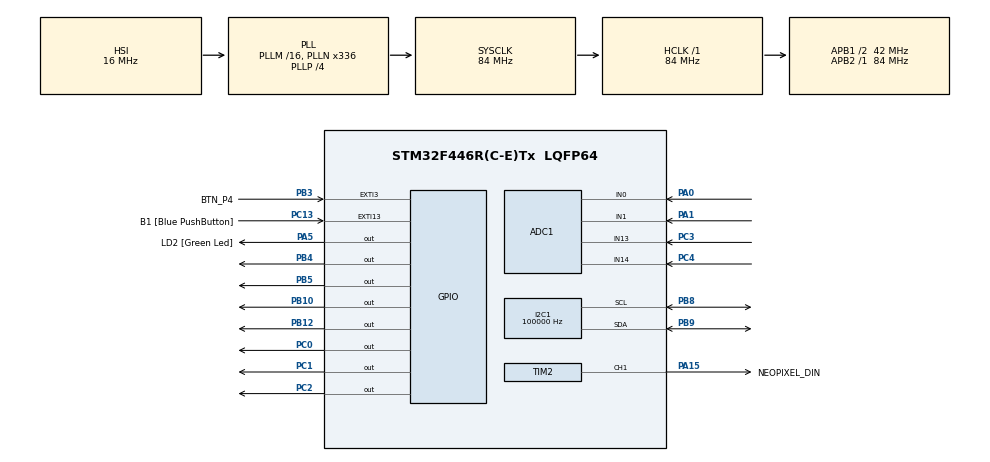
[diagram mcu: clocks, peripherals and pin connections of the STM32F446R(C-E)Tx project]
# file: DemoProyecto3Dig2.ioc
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ADC1.Channel-0\#ChannelRegularConversion=ADC_CHANNEL_0
ADC1.Channel-1\#ChannelRegularConversion=ADC_CHANNEL_1
ADC1.Channel-2\#ChannelRegularConversion=ADC_CHANNEL_13
ADC1.Channel-3\#ChannelRegularConversion=ADC_CHANNEL_14
ADC1.ClockPrescaler=ADC_CLOCK_SYNC_PCLK_DIV4
ADC1.DiscontinuousConvMode=ENABLE
ADC1.EOCSelection=ADC_EOC_SINGLE_CONV
ADC1.InjNumberOfConversion=0
ADC1.NbrOfConversion=4
ADC1.NbrOfConversionFlag=1
ADC1.NbrOfDiscConversion=1
ADC1.Rank-0\#ChannelRegularConversion=1
ADC1.Rank-1\#ChannelRegularConversion=2
ADC1.Rank-2\#ChannelRegularConversion=3
ADC1.Rank-3\#ChannelRegularConversion=4
ADC1.SamplingTime-0\#ChannelRegularConversion=ADC_SAMPLETIME_480CYCLES
ADC1.SamplingTime-1\#ChannelRegularConversion=ADC_SAMPLETIME_480CYCLES
ADC1.SamplingTime-2\#ChannelRegularConversion=ADC_SAMPLETIME_480CYCLES
ADC1.SamplingTime-3\#ChannelRegularConversion=ADC_SAMPLETIME_480CYCLES
ADC1.ScanConvMode=ENABLE
ADC1.master=1
I2C1.AddressingMode=I2C_ADDRESSINGMODE_7BIT
I2C1.ClockSpeed=100000
I2C1.DualAddressMode=I2C_DUALADDRESS_DISABLE
I2C1.GeneralCallMode=I2C_GENERALCALL_DISABLE
I2C1.NoStretchMode=I2C_NOSTRETCH_DISABLE
I2C1.OwnAddress1=32
Mcu.Family=STM32F4
Mcu.Name=STM32F446R(C-E)Tx
Mcu.Package=LQFP64
NVIC.EXTI3_IRQn=true\:0\:0\:false\:false\:true\:true\:true\:true
NVIC.I2C1_ER_IRQn=true\:0\:0\:false\:false\:true\:true\:true\:true
NVIC.I2C1_EV_IRQn=true\:0\:0\:false\:false\:true\:true\:true\:true
NVIC.PriorityGroup=NVIC_PRIORITYGROUP_0
PA0-WKUP.Signal=ADCx_IN0
PA1.Signal=ADCx_IN1
PA13.GPIO_Label=TMS
PA13.Signal=SYS_JTMS-SWDIO
PA14.GPIO_Label=TCK
PA14.Signal=SYS_JTCK-SWCLK
PA2.GPIO_Label=USART_TX
PA2.Signal=USART2_TX
PA3.GPIO_Label=USART_RX
PA3.Signal=USART2_RX
PC3.Signal=ADCx_IN13
PA5.GPIO_Label=LD2 [Green Led]
PA5.Signal=GPIO_Output
PC4.Signal=ADCx_IN14
PB10.Signal=GPIO_Output
PB12.Signal=GPIO_Output
PB3.GPIO_Label=BTN_P4
PB3.GPIO_ModeDefaultEXTI=GPIO_MODE_IT_FALLING
PB3.GPIO_PuPd=GPIO_PULLUP
PB3.Signal=GPXTI3
PB4.Signal=GPIO_Output
PB5.Signal=GPIO_Output
PB8.GPIO_Mode=GPIO_MODE_AF_OD
PB8.GPIO_PuPd=GPIO_NOPULL
PB8.GPIO_Speed=GPIO_SPEED_FREQ_VERY_HIGH
PB8.Mode=I2C
PB8.Signal=I2C1_SCL
PB9.GPIO_Mode=GPIO_MODE_AF_OD
PB9.GPIO_PuPd=GPIO_NOPULL
PB9.GPIO_Speed=GPIO_SPEED_FREQ_VERY_HIGH
PB9.Mode=I2C
PB9.Signal=I2C1_SDA
PC0.Signal=GPIO_Output
PC1.Signal=GPIO_Output
PC13.GPIO_Label=B1 [Blue PushButton]
PC13.GPIO_ModeDefaultEXTI=GPIO_MODE_IT_FALLING
PC13.GPIO_PuPd=GPIO_PULLUP
PC13.Signal=GPXTI13
PC14-OSC32_IN.Signal=RCC_OSC32_IN
PC15-OSC32_OUT.Signal=RCC_OSC32_OUT
PC2.Signal=GPIO_Output
PH0-OSC_IN.Signal=RCC_OSC_IN
PH1-OSC_OUT.Signal=RCC_OSC_OUT
ProjectManager.HeapSize=0x200
ProjectManager.StackSize=0x400
ProjectManager.TargetToolchain=STM32CubeIDE
RCC.AHBFreq_Value=84000000
RCC.APB1CLKDivider=RCC_HCLK_DIV2
RCC.APB1Freq_Value=42000000
RCC.APB1TimFreq_Value=84000000
RCC.APB2Freq_Value=84000000
RCC.APB2TimFreq_Value=84000000
RCC.CortexFreq_Value=84000000
RCC.FLatency-AdvancedSettings=FLASH_LATENCY_2
RCC.HCLKFreq_Value=84000000
RCC.HSE_VALUE=8000000
RCC.HSI_VALUE=16000000
RCC.LSE_VALUE=32768
RCC.PLLN=336
RCC.PLLP=RCC_PLLP_DIV4
RCC.SYSCLKFreq_VALUE=84000000
RCC.SYSCLKSource=RCC_SYSCLKSOURCE_PLLCLK
RCC.USBFreq_Value=168000000
RCC.VCOOutputFreq_Value=336000000
SH.ADCx_IN0.0=ADC1_IN0,IN0
SH.ADCx_IN1.0=ADC1_IN1,IN1
SH.ADCx_IN13.0=ADC1_IN13,IN13
SH.ADCx_IN14.0=ADC1_IN14,IN14
board=NUCLEO-F446RE
PA15.GPIO_Speed=GPIO_SPEED_FREQ_VERY_HIGH
PA15.GPIO_Label=NEOPIXEL_DIN
PA15.Signal=S_TIM2_CH1_ETR
Dma.Request0=TIM2_CH1
Dma.TIM2_CH1.0.Direction=DMA_MEMORY_TO_PERIPH
Dma.TIM2_CH1.0.FIFOMode=DMA_FIFOMODE_DISABLE
Dma.TIM2_CH1.0.Instance=DMA1_Stream5
Dma.TIM2_CH1.0.MemDataAlignment=DMA_MDATAALIGN_WORD
Dma.TIM2_CH1.0.MemInc=DMA_MINC_ENABLE
Dma.TIM2_CH1.0.Mode=DMA_NORMAL
Dma.TIM2_CH1.0.PeriphDataAlignment=DMA_PDATAALIGN_WORD
Dma.TIM2_CH1.0.PeriphInc=DMA_PINC_DISABLE
Dma.TIM2_CH1.0.Priority=DMA_PRIORITY_HIGH
NVIC.DMA1_Stream5_IRQn=true\:0\:0\:false\:false\:true\:false\:true\:true
SH.S_TIM2_CH1_ETR.0=TIM2_CH1,PWM Generation1 CH1
TIM2.AutoReloadPreload=TIM_AUTORELOAD_PRELOAD_ENABLE
TIM2.Channel-PWM\ Generation1\ CH1=TIM_CHANNEL_1
TIM2.Prescaler=0
TIM2.Period=104
VP_TIM2_VS_ClockSourceINT.Mode=Internal

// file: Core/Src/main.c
/* USER CODE BEGIN Header */
/**
 * @file main.c
 * @brief Parqueos: cuatro LDR, FSM y display de 7 segmentos.
 */
/* USER CODE END Header */
#include "main.h"

/* USER CODE BEGIN Includes */
#include <stdint.h>
#include "neopixel.h"
/* USER CODE END Includes */

/* USER CODE BEGIN PTD */
typedef enum
{
    ESTADO_DISPONIBLE = 0,
    ESTADO_OCUPADO
} EstadoParqueo_t;

typedef struct
{
    EstadoParqueo_t estado;
    uint8_t flag_ocupado;
    uint8_t candidato_ocupado;
    uint8_t cambio_pendiente;
    uint32_t inicio_cambio_ms;
} Parqueo_t;

typedef struct
{
    uint16_t adc_con_luz;
    uint16_t adc_sin_luz;
    uint8_t luz_para_liberar_pct;
    uint8_t luz_para_ocupar_pct;
} ConfiguracionLdr_t;
/* USER CODE END PTD */

/* USER CODE BEGIN PD */
#define NUM_PARQUEOS_LOCALES       4U
#define NUM_PARQUEOS_TOTALES       8U
#define DISPLAY_ANODO_COMUN        0U
#define PERIODO_LECTURA_MS         20U
#define CONFIRMACION_CAMBIO_MS     150U
#define MUESTRAS_PROMEDIO          8U
#define ADC_TIMEOUT_MS            5U
#define ADC_MAXIMO                4095U
#define LUZ_PARA_LIBERAR_PCT       60U
#define LUZ_PARA_OCUPAR_PCT        40U
#define I2C_DIRECCION_7BIT          0x10U
/* USER CODE END PD */

ADC_HandleTypeDef hadc1;

I2C_HandleTypeDef hi2c1;

TIM_HandleTypeDef htim2;
DMA_HandleTypeDef hdma_tim2_ch1;

/* USER CODE BEGIN PV */
static uint8_t neopixels_inicializados;
static uint8_t ocupacion_neopixels;
static uint32_t neopixels_ultimo_intento;
volatile uint32_t neopixels_errores;
static Parqueo_t parqueos[NUM_PARQUEOS_LOCALES];
static uint8_t espacios_disponibles = NUM_PARQUEOS_TOTALES;
static uint8_t actualizar_display = 1U;
static uint32_t ultima_lectura_ms;
volatile uint16_t lecturas_ldr[NUM_PARQUEOS_LOCALES];
volatile uint8_t luminosidad_pct[NUM_PARQUEOS_LOCALES];
volatile uint8_t lectura_adc_valida;
volatile uint32_t errores_adc;

/* Main publica un byte atomico; la ISR conserva su propia copia estable. */
static volatile uint8_t ocupacion_publicada;
static uint8_t i2c_tx;
static volatile uint8_t i2c_recuperar;
volatile uint32_t i2c_ultimo_error;
volatile uint32_t i2c_errores;
volatile uint32_t i2c_lecturas;

/* Divisor: 3.3 V -> resistencia fija -> ADC -> LDR -> GND.
 * Referencias iniciales de escala completa, no mediciones calibradas.
 * Ajustar adc_con_luz/adc_sin_luz por sensor con las lecturas reales.
 * Con el divisor invertido, intercambiar las dos referencias. */
static const ConfiguracionLdr_t configuracion_ldr[NUM_PARQUEOS_LOCALES] =
{
    {0U, ADC_MAXIMO, LUZ_PARA_LIBERAR_PCT, LUZ_PARA_OCUPAR_PCT},
    {0U, ADC_MAXIMO, LUZ_PARA_LIBERAR_PCT, LUZ_PARA_OCUPAR_PCT},
    {0U, ADC_MAXIMO, LUZ_PARA_LIBERAR_PCT, LUZ_PARA_OCUPAR_PCT},
    {0U, ADC_MAXIMO, LUZ_PARA_LIBERAR_PCT, LUZ_PARA_OCUPAR_PCT}
};

static const uint8_t tabla_7segmentos[9] =
{
    0x3F, 0x06, 0x5B, 0x4F, 0x66, 0x6D, 0x7D, 0x07, 0x7F
};

static volatile uint8_t mascara_global_recibida;
static volatile uint8_t mascara_global_valida;
static uint8_t i2c_rx_global[3];

/* USER CODE END PV */

void SystemClock_Config(void);
static void MX_GPIO_Init(void);
static void MX_ADC1_Init(void);
static void MX_I2C1_Init(void);

static void MX_DMA_Init(void);
static void MX_TIM2_Init(void);
/* USER CODE BEGIN PFP */
void HAL_TIM_MspPostInit(TIM_HandleTypeDef *htim);
static void Neopixels_Servicio(void);
static void Parqueos_Init(void);
static void Parqueos_ActualizarTotalGlobal(void);
static void I2C_Servicio(void);
static void I2C_PedirRecuperacion(void);
static void Parqueos_ProcesarLdr(void);
static void Parqueos_ActualizarFSM(void);
static void Parqueos_CalcularDisponibles(void);
static HAL_StatusTypeDef ADC_LeerLdr(uint16_t valores[]);
static void Display_MostrarNumero(uint8_t numero);
static void Display_EscribirSegmento(GPIO_TypeDef *puerto, uint16_t pin,
                                    uint8_t encender);

/* USER CODE END PFP */

/* USER CODE BEGIN 0 */
static void Parqueos_Init(void)
{
    for (uint32_t sensor = 0U; sensor < NUM_PARQUEOS_LOCALES; ++sensor)
    {
        parqueos[sensor].estado = ESTADO_DISPONIBLE;
        parqueos[sensor].flag_ocupado = 0U;
        parqueos[sensor].cambio_pendiente = 0U;
        const ConfiguracionLdr_t *config = &configuracion_ldr[sensor];
        if (config->adc_con_luz == config->adc_sin_luz ||
            config->adc_con_luz > ADC_MAXIMO ||
            config->adc_sin_luz > ADC_MAXIMO ||
            config->luz_para_liberar_pct > 100U ||
            config->luz_para_ocupar_pct >= config->luz_para_liberar_pct)
        {
            Error_Handler();
        }
    }
    espacios_disponibles = NUM_PARQUEOS_TOTALES;
    actualizar_display = 1U;
    ultima_lectura_ms = HAL_GetTick() - PERIODO_LECTURA_MS;
}

static HAL_StatusTypeDef ADC_LeerLdr(uint16_t valores[])
{
    uint32_t sumas[NUM_PARQUEOS_LOCALES] = {0};
    HAL_StatusTypeDef resultado = HAL_OK;

    /* Un disparo por rank; detener solo al terminar la secuencia completa. */
    for (uint32_t muestra = 0U; muestra <= MUESTRAS_PROMEDIO; ++muestra)
    {
        for (uint32_t sensor = 0U; sensor < NUM_PARQUEOS_LOCALES; ++sensor)
        {
            resultado = HAL_ADC_Start(&hadc1);
            if (resultado != HAL_OK) { goto finalizar; }
            if (HAL_ADC_GetError(&hadc1) != HAL_ADC_ERROR_NONE)
            {
                resultado = HAL_ERROR;
                goto finalizar;
            }
            resultado = HAL_ADC_PollForConversion(&hadc1, ADC_TIMEOUT_MS);
            if (resultado != HAL_OK) { goto finalizar; }
            if (__HAL_ADC_GET_FLAG(&hadc1, ADC_FLAG_OVR) != RESET)
            {
                resultado = HAL_ERROR;
                goto finalizar;
            }
            uint32_t lectura = HAL_ADC_GetValue(&hadc1);
            if (lectura > ADC_MAXIMO)
            {
                resultado = HAL_ERROR;
                goto finalizar;
            }
            if (muestra != 0U) { sumas[sensor] += lectura; }
        }
        if (HAL_ADC_Stop(&hadc1) != HAL_OK ||
            (hadc1.Instance->CR2 & ADC_CR2_ADON) != 0U)
        {
            Error_Handler();
        }
    }
    for (uint32_t sensor = 0U; sensor < NUM_PARQUEOS_LOCALES; ++sensor)
    {
        valores[sensor] = (uint16_t)((sumas[sensor] + MUESTRAS_PROMEDIO / 2U)
                                    / MUESTRAS_PROMEDIO);
    }
    return HAL_OK;

finalizar:
    if (HAL_ADC_Stop(&hadc1) != HAL_OK ||
        (hadc1.Instance->CR2 & ADC_CR2_ADON) != 0U)
    {
        Error_Handler();
    }
    return resultado;
}

static void Parqueos_ProcesarLdr(void)
{
    uint32_t ahora = HAL_GetTick();
    if ((uint32_t)(ahora - ultima_lectura_ms) < PERIODO_LECTURA_MS) { return; }
    ultima_lectura_ms = ahora;
    uint16_t valores[NUM_PARQUEOS_LOCALES];

    if (ADC_LeerLdr(valores) != HAL_OK)
    {
        lectura_adc_valida = 0U;
        if (errores_adc < UINT32_MAX) { ++errores_adc; }
        for (uint32_t sensor = 0U; sensor < NUM_PARQUEOS_LOCALES; ++sensor)
        {
            parqueos[sensor].cambio_pendiente = 0U;
        }
        return; /* Conservar el ultimo numero y reintentar la lectura. */
    }
    lectura_adc_valida = 1U;
    ahora = HAL_GetTick();

    for (uint32_t sensor = 0U; sensor < NUM_PARQUEOS_LOCALES; ++sensor)
    {
        const ConfiguracionLdr_t *config = &configuracion_ldr[sensor];
        Parqueo_t *parqueo = &parqueos[sensor];
        lecturas_ldr[sensor] = valores[sensor];
        int32_t luz = (100 * ((int32_t)valores[sensor] - config->adc_sin_luz))
                    / ((int32_t)config->adc_con_luz - config->adc_sin_luz);
        if (luz < 0) { luz = 0; }
        if (luz > 100) { luz = 100; }
        luminosidad_pct[sensor] = (uint8_t)luz;

        uint8_t ocupado;
        if (luz >= config->luz_para_liberar_pct) { ocupado = 0U; }
        else if (luz <= config->luz_para_ocupar_pct) { ocupado = 1U; }
        else
        {
            parqueo->cambio_pendiente = 0U;
            continue;
        }

        if (ocupado == parqueo->flag_ocupado)
        {
            parqueo->cambio_pendiente = 0U;
        }
        else if (parqueo->cambio_pendiente == 0U ||
                 ocupado != parqueo->candidato_ocupado)
        {
            parqueo->candidato_ocupado = ocupado;
            parqueo->inicio_cambio_ms = ahora;
            parqueo->cambio_pendiente = 1U;
        }
        else if ((uint32_t)(ahora - parqueo->inicio_cambio_ms)
                 >= CONFIRMACION_CAMBIO_MS)
        {
            parqueo->flag_ocupado = ocupado;
            parqueo->cambio_pendiente = 0U;
        }
    }
}

static void Parqueos_ActualizarFSM(void)
{
    for (uint32_t sensor = 0U; sensor < NUM_PARQUEOS_LOCALES; ++sensor)
    {
        Parqueo_t *parqueo = &parqueos[sensor];
        switch (parqueo->estado)
        {
            case ESTADO_DISPONIBLE:
                if (parqueo->flag_ocupado != 0U)
                    parqueo->estado = ESTADO_OCUPADO;
                break;
            case ESTADO_OCUPADO:
                if (parqueo->flag_ocupado == 0U)
                    parqueo->estado = ESTADO_DISPONIBLE;
                break;
            default:
                parqueo->estado = parqueo->flag_ocupado != 0U
                                ? ESTADO_OCUPADO : ESTADO_DISPONIBLE;
                break;
        }
    }
    Parqueos_CalcularDisponibles();
}

static void Parqueos_CalcularDisponibles(void)
{
    uint8_t mascara = 0U;

    for (uint32_t sensor = 0U;
         sensor < NUM_PARQUEOS_LOCALES;
         ++sensor)
    {
        if (parqueos[sensor].estado == ESTADO_OCUPADO)
        {
            mascara |= (uint8_t)(1U << sensor);
        }
    }

    // Mantener la publicación local para el ESP32.
    ocupacion_publicada = mascara;
}

static void Display_EscribirSegmento(
    GPIO_TypeDef *puerto,
    uint16_t pin,
    uint8_t encender
)
{
    GPIO_PinState nivel;

#if DISPLAY_ANODO_COMUN

    nivel = (encender != 0U)
          ? GPIO_PIN_RESET
          : GPIO_PIN_SET;

#else

    nivel = (encender != 0U)
          ? GPIO_PIN_SET
          : GPIO_PIN_RESET;

#endif

    HAL_GPIO_WritePin(puerto, pin, nivel);
}

static void Display_MostrarNumero(uint8_t numero)
{
    if (numero > 8U)
    {
        return;
    }

    uint8_t patron = tabla_7segmentos[numero];

    Display_EscribirSegmento(
        GPIOB, GPIO_PIN_4, (patron >> 0) & 0x01U
    );

    Display_EscribirSegmento(
        GPIOB, GPIO_PIN_5, (patron >> 1) & 0x01U
    );

    Display_EscribirSegmento(
        GPIOB, GPIO_PIN_10, (patron >> 2) & 0x01U
    );

    Display_EscribirSegmento(
        GPIOB, GPIO_PIN_12, (patron >> 3) & 0x01U
    );

    Display_EscribirSegmento(
        GPIOC, GPIO_PIN_0, (patron >> 4) & 0x01U
    );

    Display_EscribirSegmento(
        GPIOC, GPIO_PIN_1, (patron >> 5) & 0x01U
    );

    Display_EscribirSegmento(
        GPIOC, GPIO_PIN_2, (patron >> 6) & 0x01U
    );
}

static void Parqueos_ActualizarTotalGlobal(void)
{
    if (mascara_global_valida == 0U)
        return;

    uint8_t mascara = mascara_global_recibida;
    uint8_t ocupados = 0U;

    for (uint8_t i = 0U; i < 8U; ++i)
    {
        ocupados += (mascara >> i) & 1U;
    }

    uint8_t disponibles = 8U - ocupados;

    if (disponibles != espacios_disponibles)
    {
        espacios_disponibles = disponibles;
        actualizar_display = 1U;
    }
}

/* Misma actualizacion por pixel que Wicho, desde el byte que lee ESP32.
 * No confirmar el grupo si falla algun envio; reintentar en 50 ms. */
static void Neopixels_Servicio(void)
{
    uint8_t mascara = ocupacion_publicada & 0x0FU;
    uint32_t ahora = HAL_GetTick();
    if (neopixels_inicializados && mascara == ocupacion_neopixels) { return; }
    if ((uint32_t)(ahora - neopixels_ultimo_intento) < 50U) { return; }
    neopixels_ultimo_intento = ahora;
    for (uint32_t i = 0U; i < NEOPIXEL_COUNT; ++i) {
        if (!neopixels_inicializados ||
            ((ocupacion_neopixels ^ mascara) & (1U << i))) {
            uint8_t ocupado = (mascara >> i) & 1U;
            if (neopixel((int)i,
                         ocupado ? NEOPIXEL_BRIGHTNESS : 0,
                         ocupado ? 0 : NEOPIXEL_BRIGHTNESS, 0) != HAL_OK) {
                ++neopixels_errores;
                /* Reenviar los cuatro: el buffer puede contener cambios
                 * parciales aunque el estado local vuelva al anterior. */
                neopixels_inicializados = 0U;
                return;
            }
        }
    }
    ocupacion_neopixels = mascara;
    neopixels_inicializados = 1U;
}
/* USER CODE END 0 */

static void MX_TIM2_Init(void)
{

  TIM_ClockConfigTypeDef sClockSourceConfig = {0};
  TIM_MasterConfigTypeDef sMasterConfig = {0};
  TIM_OC_InitTypeDef sConfigOC = {0};

  htim2.Instance = TIM2;
  htim2.Init.Prescaler = 0;
  htim2.Init.CounterMode = TIM_COUNTERMODE_UP;
  htim2.Init.Period = 104; /* 84 MHz / 105 = 800 kHz */
  htim2.Init.ClockDivision = TIM_CLOCKDIVISION_DIV1;
  htim2.Init.AutoReloadPreload = TIM_AUTORELOAD_PRELOAD_ENABLE;
  if (HAL_TIM_Base_Init(&htim2) != HAL_OK)
  {
    Error_Handler();
  }
  sClockSourceConfig.ClockSource = TIM_CLOCKSOURCE_INTERNAL;
  if (HAL_TIM_ConfigClockSource(&htim2, &sClockSourceConfig) != HAL_OK)
  {
    Error_Handler();
  }
  if (HAL_TIM_PWM_Init(&htim2) != HAL_OK)
  {
    Error_Handler();
  }
  sMasterConfig.MasterOutputTrigger = TIM_TRGO_RESET;
  sMasterConfig.MasterSlaveMode = TIM_MASTERSLAVEMODE_DISABLE;
  if (HAL_TIMEx_MasterConfigSynchronization(&htim2, &sMasterConfig) != HAL_OK)
  {
    Error_Handler();
  }
  sConfigOC.OCMode = TIM_OCMODE_PWM1;
  sConfigOC.Pulse = 0;
  sConfigOC.OCPolarity = TIM_OCPOLARITY_HIGH;
  sConfigOC.OCFastMode = TIM_OCFAST_DISABLE;
  if (HAL_TIM_PWM_ConfigChannel(&htim2, &sConfigOC, TIM_CHANNEL_1) != HAL_OK)
  {
    Error_Handler();
  }
  HAL_TIM_MspPostInit(&htim2);

}

static void MX_DMA_Init(void)
{

  /* DMA controller clock enable */
  __HAL_RCC_DMA1_CLK_ENABLE();

  /* DMA interrupt init */
  /* DMA1_Stream5_IRQn interrupt configuration */
  HAL_NVIC_SetPriority(DMA1_Stream5_IRQn, 0, 0);
  HAL_NVIC_EnableIRQ(DMA1_Stream5_IRQn);

}

int main(void)
{

  /* MCU Configuration--------------------------------------------------------*/

  /* Reset of all peripherals, Initializes the Flash interface and the Systick. */
  HAL_Init();

  /* Configure the system clock */
  SystemClock_Config();

  /* Initialize all configured peripherals */
  MX_GPIO_Init();
  MX_ADC1_Init();
  MX_DMA_Init();
  MX_TIM2_Init();
  MX_I2C1_Init();
  /* USER CODE BEGIN 2 */
  HAL_NVIC_DisableIRQ(EXTI3_IRQn);
  Parqueos_Init();
  Parqueos_CalcularDisponibles();
  neopixels_ultimo_intento = HAL_GetTick() - 50U;
  Neopixels_Servicio();
  Display_MostrarNumero(espacios_disponibles);
  actualizar_display = 0U;
  if (HAL_I2C_EnableListen_IT(&hi2c1) != HAL_OK)
  {
      I2C_PedirRecuperacion();
  }
  /* USER CODE END 2 */

  /* Infinite loop */
  while (1)
  {

    /* USER CODE BEGIN 3 */
    I2C_Servicio();
    Parqueos_ProcesarLdr();
    Parqueos_ActualizarFSM();
    Neopixels_Servicio();
    Parqueos_ActualizarTotalGlobal();
    if (actualizar_display != 0U)
    {
        Display_MostrarNumero(espacios_disponibles);
        actualizar_display = 0U;
    }
  }
  /* USER CODE END 3 */
}

void SystemClock_Config(void)
{
  RCC_OscInitTypeDef RCC_OscInitStruct = {0};
  RCC_ClkInitTypeDef RCC_ClkInitStruct = {0};

  /** Configure the main internal regulator output voltage
  */
  __HAL_RCC_PWR_CLK_ENABLE();
  __HAL_PWR_VOLTAGESCALING_CONFIG(PWR_REGULATOR_VOLTAGE_SCALE3);

  /** Initializes the RCC Oscillators according to the specified parameters
  * in the RCC_OscInitTypeDef structure.
  */
  RCC_OscInitStruct.OscillatorType = RCC_OSCILLATORTYPE_HSI;
  RCC_OscInitStruct.HSIState = RCC_HSI_ON;
  RCC_OscInitStruct.HSICalibrationValue = RCC_HSICALIBRATION_DEFAULT;
  RCC_OscInitStruct.PLL.PLLState = RCC_PLL_ON;
  RCC_OscInitStruct.PLL.PLLSource = RCC_PLLSOURCE_HSI;
  RCC_OscInitStruct.PLL.PLLM = 16;
  RCC_OscInitStruct.PLL.PLLN = 336;
  RCC_OscInitStruct.PLL.PLLP = RCC_PLLP_DIV4;
  RCC_OscInitStruct.PLL.PLLQ = 2;
  RCC_OscInitStruct.PLL.PLLR = 2;
  if (HAL_RCC_OscConfig(&RCC_OscInitStruct) != HAL_OK)
  {
    Error_Handler();
  }

  /** Initializes the CPU, AHB and APB buses clocks
  */
  RCC_ClkInitStruct.ClockType = RCC_CLOCKTYPE_HCLK|RCC_CLOCKTYPE_SYSCLK
                              |RCC_CLOCKTYPE_PCLK1|RCC_CLOCKTYPE_PCLK2;
  RCC_ClkInitStruct.SYSCLKSource = RCC_SYSCLKSOURCE_PLLCLK;
  RCC_ClkInitStruct.AHBCLKDivider = RCC_SYSCLK_DIV1;
  RCC_ClkInitStruct.APB1CLKDivider = RCC_HCLK_DIV2;
  RCC_ClkInitStruct.APB2CLKDivider = RCC_HCLK_DIV1;

  if (HAL_RCC_ClockConfig(&RCC_ClkInitStruct, FLASH_LATENCY_2) != HAL_OK)
  {
    Error_Handler();
  }
}

static void MX_ADC1_Init(void)
{

  ADC_ChannelConfTypeDef sConfig = {0};

  /** Configure the global features of the ADC (Clock, Resolution, Data Alignment and number of conversion)
  */
  hadc1.Instance = ADC1;
  hadc1.Init.ClockPrescaler = ADC_CLOCK_SYNC_PCLK_DIV4;
  hadc1.Init.Resolution = ADC_RESOLUTION_12B;
  hadc1.Init.ScanConvMode = ENABLE;
  hadc1.Init.ContinuousConvMode = DISABLE;
  hadc1.Init.DiscontinuousConvMode = ENABLE;
  hadc1.Init.NbrOfDiscConversion = 1U;
  hadc1.Init.ExternalTrigConvEdge = ADC_EXTERNALTRIGCONVEDGE_NONE;
  hadc1.Init.ExternalTrigConv = ADC_SOFTWARE_START;
  hadc1.Init.DataAlign = ADC_DATAALIGN_RIGHT;
  hadc1.Init.NbrOfConversion = 4;
  hadc1.Init.DMAContinuousRequests = DISABLE;
  hadc1.Init.EOCSelection = ADC_EOC_SINGLE_CONV;
  if (HAL_ADC_Init(&hadc1) != HAL_OK)
  {
    Error_Handler();
  }

  /** Configure for the selected ADC regular channel its corresponding rank in the sequencer and its sample time.
  */
  sConfig.Channel = ADC_CHANNEL_0; /* LDR 1: PA0 */
  sConfig.Rank = 1;
  sConfig.SamplingTime = ADC_SAMPLETIME_480CYCLES;
  if (HAL_ADC_ConfigChannel(&hadc1, &sConfig) != HAL_OK)
  {
    Error_Handler();
  }

  /** Configure for the selected ADC regular channel its corresponding rank in the sequencer and its sample time.
  */
  sConfig.Channel = ADC_CHANNEL_1; /* LDR 2: PA1 */
  sConfig.Rank = 2;
  if (HAL_ADC_ConfigChannel(&hadc1, &sConfig) != HAL_OK)
  {
    Error_Handler();
  }

  /** Configure for the selected ADC regular channel its corresponding rank in the sequencer and its sample time.
  */
  sConfig.Channel = ADC_CHANNEL_13; /* LDR 3: PC3 */
  sConfig.Rank = 3;
  if (HAL_ADC_ConfigChannel(&hadc1, &sConfig) != HAL_OK)
  {
    Error_Handler();
  }

  /** Configure for the selected ADC regular channel its corresponding rank in the sequencer and its sample time.
  */
  sConfig.Channel = ADC_CHANNEL_14; /* LDR 4: PC4 */
  sConfig.Rank = 4;
  if (HAL_ADC_ConfigChannel(&hadc1, &sConfig) != HAL_OK)
  {
    Error_Handler();
  }
  /* USER CODE BEGIN ADC1_Init 2 */
  /* Secuencia PA0, PA1, PC3, PC4: un rank por disparo, sin DMA. */
  /* USER CODE END ADC1_Init 2 */

}

static void MX_I2C1_Init(void)
{

  hi2c1.Instance = I2C1;
  hi2c1.Init.ClockSpeed = 100000;
  hi2c1.Init.DutyCycle = I2C_DUTYCYCLE_2;
  hi2c1.Init.OwnAddress1 = 32;
  hi2c1.Init.AddressingMode = I2C_ADDRESSINGMODE_7BIT;
  hi2c1.Init.DualAddressMode = I2C_DUALADDRESS_DISABLE;
  hi2c1.Init.OwnAddress2 = 0;
  hi2c1.Init.GeneralCallMode = I2C_GENERALCALL_DISABLE;
  hi2c1.Init.NoStretchMode = I2C_NOSTRETCH_DISABLE;
  if (HAL_I2C_Init(&hi2c1) != HAL_OK)
  {
    Error_Handler();
  }

}

static void MX_GPIO_Init(void)
{
  GPIO_InitTypeDef GPIO_InitStruct = {0};

  /* GPIO Ports Clock Enable */
  __HAL_RCC_GPIOC_CLK_ENABLE();
  __HAL_RCC_GPIOH_CLK_ENABLE();
  __HAL_RCC_GPIOA_CLK_ENABLE();
  __HAL_RCC_GPIOB_CLK_ENABLE();

  /*Configure GPIO pin Output Level */
  HAL_GPIO_WritePin(GPIOC, GPIO_PIN_0|GPIO_PIN_1|GPIO_PIN_2, GPIO_PIN_RESET);

  /*Configure GPIO pin Output Level */
  HAL_GPIO_WritePin(LD2_GPIO_Port, LD2_Pin, GPIO_PIN_RESET);

  /*Configure GPIO pin Output Level */
  HAL_GPIO_WritePin(GPIOB, GPIO_PIN_10|GPIO_PIN_12|GPIO_PIN_4|GPIO_PIN_5, GPIO_PIN_RESET);

  /*Configure GPIO pin : B1_Pin */
  GPIO_InitStruct.Pin = B1_Pin;
  GPIO_InitStruct.Mode = GPIO_MODE_IT_FALLING;
  GPIO_InitStruct.Pull = GPIO_PULLUP;
  HAL_GPIO_Init(B1_GPIO_Port, &GPIO_InitStruct);

  /*Configure GPIO pins : PC0 PC1 PC2 */
  GPIO_InitStruct.Pin = GPIO_PIN_0|GPIO_PIN_1|GPIO_PIN_2;
  GPIO_InitStruct.Mode = GPIO_MODE_OUTPUT_PP;
  GPIO_InitStruct.Pull = GPIO_NOPULL;
  GPIO_InitStruct.Speed = GPIO_SPEED_FREQ_LOW;
  HAL_GPIO_Init(GPIOC, &GPIO_InitStruct);

  /*Configure GPIO pins : USART_TX_Pin USART_RX_Pin */
  GPIO_InitStruct.Pin = USART_TX_Pin|USART_RX_Pin;
  GPIO_InitStruct.Mode = GPIO_MODE_AF_PP;
  GPIO_InitStruct.Pull = GPIO_NOPULL;
  GPIO_InitStruct.Speed = GPIO_SPEED_FREQ_VERY_HIGH;
  GPIO_InitStruct.Alternate = GPIO_AF7_USART2;
  HAL_GPIO_Init(GPIOA, &GPIO_InitStruct);

  /*Configure GPIO pin : LD2_Pin */
  GPIO_InitStruct.Pin = LD2_Pin;
  GPIO_InitStruct.Mode = GPIO_MODE_OUTPUT_PP;
  GPIO_InitStruct.Pull = GPIO_NOPULL;
  GPIO_InitStruct.Speed = GPIO_SPEED_FREQ_LOW;
  HAL_GPIO_Init(LD2_GPIO_Port, &GPIO_InitStruct);

  /*Configure GPIO pins : PB10 PB12 PB4 PB5 */
  GPIO_InitStruct.Pin = GPIO_PIN_10|GPIO_PIN_12|GPIO_PIN_4|GPIO_PIN_5;
  GPIO_InitStruct.Mode = GPIO_MODE_OUTPUT_PP;
  GPIO_InitStruct.Pull = GPIO_NOPULL;
  GPIO_InitStruct.Speed = GPIO_SPEED_FREQ_LOW;
  HAL_GPIO_Init(GPIOB, &GPIO_InitStruct);

  /*Configure GPIO pin : BTN_P4_Pin */
  GPIO_InitStruct.Pin = BTN_P4_Pin;
  GPIO_InitStruct.Mode = GPIO_MODE_IT_FALLING;
  GPIO_InitStruct.Pull = GPIO_PULLUP;
  HAL_GPIO_Init(BTN_P4_GPIO_Port, &GPIO_InitStruct);

  /* EXTI interrupt init*/
  HAL_NVIC_SetPriority(EXTI3_IRQn, 0, 0);
  HAL_NVIC_EnableIRQ(EXTI3_IRQn);

}

/* USER CODE BEGIN 4 */
static void I2C_PedirRecuperacion(void)
{
    i2c_recuperar = 1U;
    __HAL_I2C_DISABLE_IT(&hi2c1, I2C_IT_EVT | I2C_IT_BUF | I2C_IT_ERR);
    __HAL_I2C_DISABLE(&hi2c1);
}

static void I2C_Servicio(void)
{
    static uint32_t ultimo_intento;
    if (i2c_recuperar == 0U ||
        (uint32_t)(HAL_GetTick() - ultimo_intento) < 10U) { return; }
    ultimo_intento = HAL_GetTick();

    /* Recuperacion fuera de ISR. HAL F4 Init/DeInit no esperan al maestro.
     * Seccion acotada: impide carreras con EV/ER y restaura PRIMASK. */
    uint32_t primask = __get_PRIMASK();
    __disable_irq();
    HAL_StatusTypeDef resultado = HAL_I2C_DeInit(&hi2c1);
    __HAL_RCC_I2C1_FORCE_RESET();
    __HAL_RCC_I2C1_RELEASE_RESET();
    HAL_NVIC_ClearPendingIRQ(I2C1_EV_IRQn);
    HAL_NVIC_ClearPendingIRQ(I2C1_ER_IRQn);
    if (resultado == HAL_OK) { resultado = HAL_I2C_Init(&hi2c1); }
    if (resultado == HAL_OK) { resultado = HAL_I2C_EnableListen_IT(&hi2c1); }
    if (resultado == HAL_OK) { i2c_recuperar = 0U; }
    else { I2C_PedirRecuperacion(); }
    __set_PRIMASK(primask);
}

void HAL_I2C_AddrCallback(I2C_HandleTypeDef *hi2c,
                          uint8_t TransferDirection,
                          uint16_t AddrMatchCode)
{
    (void)AddrMatchCode;

    if (hi2c->Instance != I2C1 || i2c_recuperar != 0U)
        return;

    HAL_StatusTypeDef resultado;

    if (TransferDirection == I2C_DIRECTION_RECEIVE)
    {
        // ESP32 solicita la ocupacion local P1-P4
        i2c_tx = ocupacion_publicada;

        resultado = HAL_I2C_Slave_Seq_Transmit_IT(
            hi2c,
            &i2c_tx,
            1U,
            I2C_FIRST_AND_LAST_FRAME
        );

        if (resultado == HAL_OK)
            ++i2c_lecturas;
    }
    else
    {
        // ESP32 envia comando 0xA0 + mascara global
        resultado = HAL_I2C_Slave_Seq_Receive_IT(
            hi2c,
            i2c_rx_global,
            2U,
            I2C_FIRST_AND_LAST_FRAME
        );
    }

    if (resultado != HAL_OK)
        I2C_PedirRecuperacion();
}

void HAL_I2C_SlaveRxCpltCallback(I2C_HandleTypeDef *hi2c)
{
    if (hi2c->Instance != I2C1)
        return;

    // Validar identificador de sincronizacion
    if (!i2c_recuperar && hi2c->XferCount == 0U && i2c_rx_global[0] == 0xA0)
    {
        mascara_global_recibida = i2c_rx_global[1];
        mascara_global_valida = 1U;
    }
}

void HAL_I2C_ListenCpltCallback(I2C_HandleTypeDef *hi2c)
{
    if (hi2c->Instance != I2C1 || i2c_recuperar != 0U) { return; }
    if (HAL_I2C_EnableListen_IT(hi2c) != HAL_OK) { I2C_PedirRecuperacion(); }
}

void HAL_I2C_ErrorCallback(I2C_HandleTypeDef *hi2c)
{
    if (hi2c->Instance != I2C1) { return; }
    i2c_ultimo_error = HAL_I2C_GetError(hi2c);
    ++i2c_errores;
    /* No rearmar aqui: I2C_ITError de F4 aun modifica interrupciones al salir.
     * El NACK normal tras leer un byte va a ListenCplt en esta HAL. */
    I2C_PedirRecuperacion();
}

/* USER CODE END 4 */

void Error_Handler(void)
{
  __disable_irq();
  while (1)
  {
  }
}
